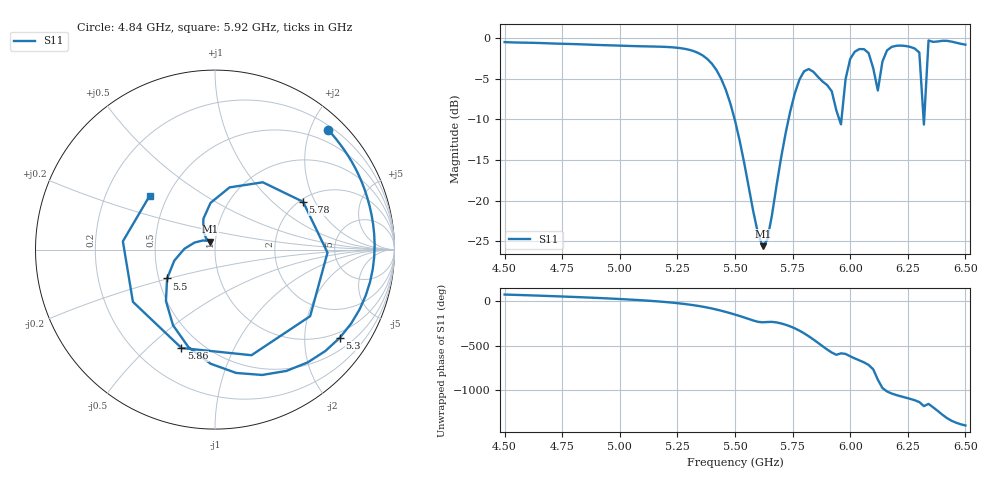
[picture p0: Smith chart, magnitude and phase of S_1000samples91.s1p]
! TOUCHSTONE file generated by CST MICROWAVE STUDIO
! Date and time: Wed Oct 26 23:23:46 2022
! Project name: L.cst
! Parameters = {Di=1.27; Epsilon_r=1.56; InnerDiameter=1.27; Length=2; Lf=10; Lg=60; OuterConductorThickness=0.2921; OuterDiameter=3.6; Wf=3; Wp=41.2; de=1.5; df=6.8; g=0.8; gx=3.91318; gy=1.79239; h=2.34; hf=1.524; px=8.853; py=14.3966; w=9.7; wx=4.93982; wy=12.6042}
! Header version: 2018
! Port assignment regex: !\s*Touchstone port\s*([0-9]+)\s*=\s*(CST MWS port|CST DS port)\s*([0-9]+|Zmin|Zmax)\s*\(\"(.*)\"\)(\s*mode\s*([0-9]+))?.*
! Touchstone port assignment:
! Touchstone port 1 = CST MWS port 1 ("")
# GHz S DB R 50
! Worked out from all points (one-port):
!   101 points, 4.5 GHz to 6.5 GHz, reference 50 ohm
!   lowest |S11| = -25.6 dB at 5.62 GHz (marker M1), VSWR 1.11, Z = 47 + j4.13 ohm
!   |S11| at or under -10 dB: 5.499 GHz to 5.732 GHz (233.5 MHz wide, 4.16 % of centre); 5.952978 GHz to 5.962141 GHz (9.163 MHz wide, 0.154 % of centre); 6.318589 GHz to 6.321209 GHz (2.62 MHz wide, 0.0415 % of centre)
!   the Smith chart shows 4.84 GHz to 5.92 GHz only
!   S11 on the Smith chart (normalised r, x): 4.84 GHz: 0.27, +2.29; 5.3 GHz: 0.83, -2.94; 5.5 GHz: 0.55, -0.20; 5.78 GHz: 2.08, +1.61; 5.86 GHz: 0.39, -0.64; 5.92 GHz: 0.40, +0.31
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4.5  -0.46 78.3
4.76  -0.67 55.1
4.84  -0.74 46.8
5  -0.90 27.5
5.26  -1.19 -22.5
5.3  -1.40 -35.2
5.4  -3.13 -80.3
5.5  -10.13 -148.9
5.62  -25.62 123.2
5.76  -6.74 54.6
5.78  -5.06 28.5
5.82  -3.78 -35.0
5.86  -4.74 -108.8
5.92  -6.52 140.3
5.96  -10.60 131.1
6  -2.53 97.7
6.06  -1.33 28.4
6.1  -3.69 -50.4
6.12  -6.43 -167.8
6.14  -2.84 97.7
6.18  -1.05 35.3
6.26  -1.05 -25.0
6.3  -1.74 -61.3
6.32  -10.63 -107.4
6.34  -0.26 -82.4
6.38  -0.38 -162.1
6.42  -0.30 116.8
6.5  -0.78 33.1
